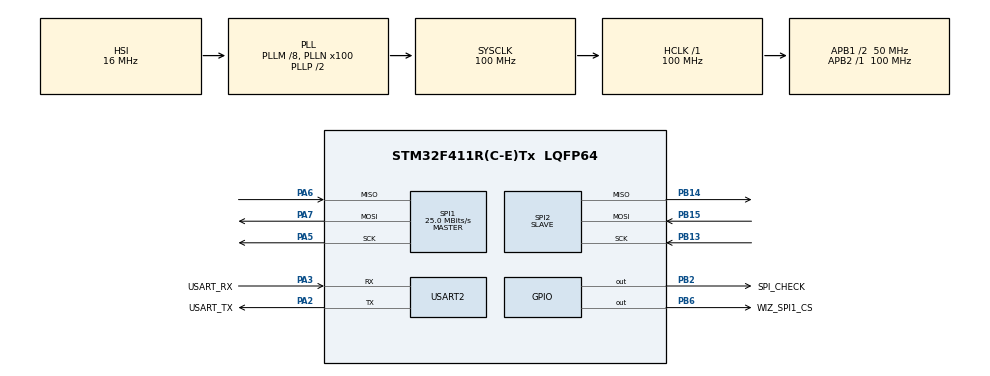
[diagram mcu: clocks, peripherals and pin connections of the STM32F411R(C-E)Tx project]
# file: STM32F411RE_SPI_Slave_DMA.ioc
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3rdParty.I-CUBE-CoreMark.0.1.0.ITERATIONS=2000
3rdParty.I-CUBE-CoreMark.0.1.0.PRINTF_UART_PORT=huart2
Dma.Request0=SPI2_RX
Dma.Request1=SPI1_RX
Dma.Request2=SPI1_TX
Dma.SPI1_RX.1.Direction=DMA_PERIPH_TO_MEMORY
Dma.SPI1_RX.1.FIFOMode=DMA_FIFOMODE_DISABLE
Dma.SPI1_RX.1.Instance=DMA2_Stream0
Dma.SPI1_RX.1.MemDataAlignment=DMA_MDATAALIGN_BYTE
Dma.SPI1_RX.1.MemInc=DMA_MINC_ENABLE
Dma.SPI1_RX.1.Mode=DMA_NORMAL
Dma.SPI1_RX.1.PeriphDataAlignment=DMA_PDATAALIGN_BYTE
Dma.SPI1_RX.1.PeriphInc=DMA_PINC_DISABLE
Dma.SPI1_RX.1.Priority=DMA_PRIORITY_LOW
Dma.SPI1_TX.2.Direction=DMA_MEMORY_TO_PERIPH
Dma.SPI1_TX.2.FIFOMode=DMA_FIFOMODE_DISABLE
Dma.SPI1_TX.2.Instance=DMA2_Stream2
Dma.SPI1_TX.2.MemDataAlignment=DMA_MDATAALIGN_BYTE
Dma.SPI1_TX.2.MemInc=DMA_MINC_ENABLE
Dma.SPI1_TX.2.Mode=DMA_NORMAL
Dma.SPI1_TX.2.PeriphDataAlignment=DMA_PDATAALIGN_BYTE
Dma.SPI1_TX.2.PeriphInc=DMA_PINC_DISABLE
Dma.SPI1_TX.2.Priority=DMA_PRIORITY_LOW
Dma.SPI2_RX.0.Direction=DMA_PERIPH_TO_MEMORY
Dma.SPI2_RX.0.FIFOMode=DMA_FIFOMODE_DISABLE
Dma.SPI2_RX.0.Instance=DMA1_Stream3
Dma.SPI2_RX.0.MemDataAlignment=DMA_MDATAALIGN_BYTE
Dma.SPI2_RX.0.MemInc=DMA_MINC_ENABLE
Dma.SPI2_RX.0.Mode=DMA_NORMAL
Dma.SPI2_RX.0.PeriphDataAlignment=DMA_PDATAALIGN_BYTE
Dma.SPI2_RX.0.PeriphInc=DMA_PINC_DISABLE
Dma.SPI2_RX.0.Priority=DMA_PRIORITY_LOW
FREERTOS.BinarySemaphores01=spi_recv_sem,Dynamic,NULL
FREERTOS.Tasks01=mainTask,24,8192,StartMainTask,Default,NULL,Dynamic,NULL,NULL
FREERTOS.configTOTAL_HEAP_SIZE=112640
MBEDTLS.MBEDTLS_DEBUG_C=1
MBEDTLS.MBEDTLS_DHM_C=1
MBEDTLS.MBEDTLS_ECJPAKE_C=1
MBEDTLS.MBEDTLS_ECP_FIXED_POINT_OPTIM_ENABLE=1
MBEDTLS.MBEDTLS_ECP_MAX_BITS_ENABLE=1
MBEDTLS.MBEDTLS_ECP_WINDOW_SIZE_ENABLE=1
MBEDTLS.MBEDTLS_ENTROPY_MAX_SOURCES=2
MBEDTLS.MBEDTLS_HAVE_TIME=0
MBEDTLS.MBEDTLS_KEY_EXCHANGE_DHE_PSK_ENABLED=1
MBEDTLS.MBEDTLS_KEY_EXCHANGE_DHE_RSA_ENABLED=1
MBEDTLS.MBEDTLS_KEY_EXCHANGE_ECDHE_PSK_ENABLED=1
MBEDTLS.MBEDTLS_KEY_EXCHANGE_ECDHE_RSA_ENABLED=1
MBEDTLS.MBEDTLS_KEY_EXCHANGE_ECDH_ECDSA_ENABLED=1
MBEDTLS.MBEDTLS_KEY_EXCHANGE_ECDH_RSA_ENABLED=1
MBEDTLS.MBEDTLS_KEY_EXCHANGE_ECJPAKE_ENABLED=1
MBEDTLS.MBEDTLS_KEY_EXCHANGE_PSK_ENABLED=1
MBEDTLS.MBEDTLS_KEY_EXCHANGE_RSA_ENABLED=1
MBEDTLS.MBEDTLS_KEY_EXCHANGE_RSA_PSK_ENABLED=1
MBEDTLS.MBEDTLS_MD5_C=1
MBEDTLS.MBEDTLS_MPI_MAX_SIZE_ENABLE=0
MBEDTLS.MBEDTLS_MPI_WINDOW_SIZE=256
MBEDTLS.MBEDTLS_MPI_WINDOW_SIZE_ENABLE=1
MBEDTLS.MBEDTLS_PKCS1_V15=1
MBEDTLS.MBEDTLS_PLATFORM_MEMORY=1
MBEDTLS.MBEDTLS_RNG_IP=SW_RNG
MBEDTLS.MBEDTLS_RSA_C=1
MBEDTLS.MBEDTLS_RSA_NO_CRT=0
MBEDTLS.MBEDTLS_SSL_CIPHERSUITES=MBEDTLS_TLS_ECDHE_ECDSA_WITH_AES_256_GCM_SHA384,MBEDTLS_TLS_ECDHE_ECDSA_WITH_AES_128_GCM_SHA256,MBEDTLS_TLS_ECDHE_RSA_WITH_AES_128_GCM_SHA256
MBEDTLS.MBEDTLS_SSL_CLI_C=1
MBEDTLS.MBEDTLS_SSL_MAX_CONTENT_LEN=4096
MBEDTLS.MBEDTLS_SSL_MAX_CONTENT_LEN_ENABLE=1
MBEDTLS.MBEDTLS_SSL_SRV_C=1
MBEDTLS.MBEDTLS_TCP_IP=1
Mcu.Family=STM32F4
Mcu.Name=STM32F411R(C-E)Tx
Mcu.Package=LQFP64
NVIC.DMA1_Stream3_IRQn=true\:5\:0\:false\:false\:true\:true\:false\:true\:true
NVIC.DMA2_Stream0_IRQn=true\:5\:0\:false\:false\:true\:true\:false\:true\:true
NVIC.DMA2_Stream2_IRQn=true\:5\:0\:false\:false\:true\:true\:false\:true\:true
NVIC.PriorityGroup=NVIC_PRIORITYGROUP_4
NVIC.SPI2_IRQn=true\:5\:0\:false\:false\:true\:true\:true\:true\:true
NVIC.TIM4_IRQn=true\:15\:0\:false\:false\:true\:false\:false\:true\:true
NVIC.TimeBase=TIM4_IRQn
NVIC.TimeBaseIP=TIM4
PA13.GPIO_Label=TMS
PA13.Mode=Serial_Wire
PA13.Signal=SYS_JTMS-SWDIO
PA14.GPIO_Label=TCK
PA14.Mode=Serial_Wire
PA14.Signal=SYS_JTCK-SWCLK
PA2.GPIO_Label=USART_TX
PA2.Mode=Asynchronous
PA2.Signal=USART2_TX
PA3.GPIO_Label=USART_RX
PA3.Mode=Asynchronous
PA3.Signal=USART2_RX
PA5.Mode=Full_Duplex_Master
PA5.Signal=SPI1_SCK
PA6.Mode=Full_Duplex_Master
PA6.Signal=SPI1_MISO
PA7.Mode=Full_Duplex_Master
PA7.Signal=SPI1_MOSI
PB13.Mode=Full_Duplex_Slave
PB13.Signal=SPI2_SCK
PB14.Mode=Full_Duplex_Slave
PB14.Signal=SPI2_MISO
PB15.Mode=Full_Duplex_Slave
PB15.Signal=SPI2_MOSI
PB2.GPIO_Label=SPI_CHECK
PB2.Signal=GPIO_Output
PB3.GPIO_Label=SWO
PB3.Signal=SYS_JTDO-SWO
PB6.GPIO_Label=WIZ_SPI1_CS
PB6.Signal=GPIO_Output
PC14-OSC32_IN.Mode=LSE-External-Oscillator
PC14-OSC32_IN.Signal=RCC_OSC32_IN
PC15-OSC32_OUT.Mode=LSE-External-Oscillator
PC15-OSC32_OUT.Signal=RCC_OSC32_OUT
PH0\ -\ OSC_IN.Mode=HSE-External-Clock-Source
PH0\ -\ OSC_IN.Signal=RCC_OSC_IN
PH1\ -\ OSC_OUT.Mode=HSE-External-Clock-Source
PH1\ -\ OSC_OUT.Signal=RCC_OSC_OUT
ProjectManager.HeapSize=0x200
ProjectManager.StackSize=0x400
ProjectManager.TargetToolchain=MDK-ARM V5.32
RCC.48MHZClocksFreq_Value=50000000
RCC.AHBFreq_Value=100000000
RCC.APB1CLKDivider=RCC_HCLK_DIV2
RCC.APB1Freq_Value=50000000
RCC.APB1TimFreq_Value=100000000
RCC.APB2Freq_Value=100000000
RCC.APB2TimFreq_Value=100000000
RCC.CortexFreq_Value=100000000
RCC.FLatency-AdvancedSettings=FLASH_LATENCY_3
RCC.HCLKFreq_Value=100000000
RCC.HSE_VALUE=8000000
RCC.HSI_VALUE=16000000
RCC.PLLM=8
RCC.PLLN=100
RCC.SYSCLKFreq_VALUE=100000000
RCC.SYSCLKSource=RCC_SYSCLKSOURCE_PLLCLK
RCC.VCOOutputFreq_Value=200000000
SPI1.BaudRatePrescaler=SPI_BAUDRATEPRESCALER_4
SPI1.CalculateBaudRate=25.0 MBits/s
SPI1.Direction=SPI_DIRECTION_2LINES
SPI1.Mode=SPI_MODE_MASTER
SPI1.VirtualType=VM_MASTER
SPI2.Direction=SPI_DIRECTION_2LINES
SPI2.Mode=SPI_MODE_SLAVE
SPI2.VirtualType=VM_SLAVE
USART2.VirtualMode=VM_ASYNC
VP_FREERTOS_VS_CMSIS_V2.Mode=CMSIS_V2
VP_MBEDTLS_VS_MBEDTLS.Mode=Enabled
VP_SYS_VS_tim4.Mode=TIM4
board=NUCLEO-F411RE

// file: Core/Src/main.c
/* USER CODE BEGIN Header */
/**
  ******************************************************************************
  * @file           : main.c
  * @brief          : Main program body
  ******************************************************************************
  * @attention
  *
  * Copyright (c) 2023 STMicroelectronics.
  * All rights reserved.
  *
  * This software is licensed under terms that can be found in the LICENSE file
  * in the root directory of this software component.
  * If no LICENSE file comes with this software, it is provided AS-IS.
  *
  ******************************************************************************
  */
/* USER CODE END Header */
#include "main.h"
#include "cmsis_os.h"
#include "mbedtls.h"

/* USER CODE BEGIN Includes */
#include "mbedtls/platform.h"
#include "w5x00_spi.h"
#include "w5x00_tcp_client_over_ssl.h"
/* USER CODE END Includes */

/* USER CODE BEGIN PD */
/* Buffer */
#define BUFFERSIZE 2048

/* Socket */
#define SOCKET_SSL 0

/* Port */
#define PORT_SSL 443
/* USER CODE END PD */

SPI_HandleTypeDef hspi1;
SPI_HandleTypeDef hspi2;
DMA_HandleTypeDef hdma_spi1_rx;
DMA_HandleTypeDef hdma_spi1_tx;
DMA_HandleTypeDef hdma_spi2_rx;

UART_HandleTypeDef huart2;

/* Definitions for mainTask */
osThreadId_t mainTaskHandle;
const osThreadAttr_t mainTask_attributes = {
  .name = "mainTask",
  .stack_size = 8192 * 4,
  .priority = (osPriority_t) osPriorityNormal,
};
/* Definitions for spi_recv_sem */
osSemaphoreId_t spi_recv_semHandle;
const osSemaphoreAttr_t spi_recv_sem_attributes = {
  .name = "spi_recv_sem"
};
/* USER CODE BEGIN PV */
extern mbedtls_ssl_context ssl;
uint8_t ssl_target_ip[4] = {192, 168, 0, 2};
uint8_t aRxBuffer[BUFFERSIZE];
/* USER CODE END PV */

void SystemClock_Config(void);
static void MX_GPIO_Init(void);
static void MX_DMA_Init(void);
static void MX_USART2_UART_Init(void);
static void MX_SPI1_Init(void);
static void MX_SPI2_Init(void);
void StartMainTask(void *argument);

/* USER CODE BEGIN 0 */
struct __FILE {
    int dummy;
};

/* You need this if you want use printf */
/* Struct FILE is implemented in stdio.h */
FILE __stdout;

int fputc(int ch, FILE *f)
{
  /* Place your implementation of fputc here */
  /* e.g. write a character to the EVAL_COM1 and Loop until the end of transmission */
  HAL_UART_Transmit(&huart2, (uint8_t *)&ch, 1, 0xFFFF);

  return ch;
}
void HAL_SPI_RxCpltCallback(SPI_HandleTypeDef *hspi)
{
	if(hspi->Instance == SPI2) {
		//printf("%s\r\n", __func__);
		HAL_SPI_Receive_DMA(&hspi2, (uint8_t *)aRxBuffer, BUFFERSIZE);
		osSemaphoreRelease(spi_recv_semHandle);
		//while(HAL_SPI_GetState(&hspi2) == HAL_SPI_STATE_BUSY_RX);
	}
}

void *pvPortCalloc( size_t sNb, size_t sSize )
{
    void *vPtr = NULL;
    if (sSize > 0) {
        vPtr = pvPortMalloc(sSize * sNb); // Call FreeRTOS or other standard API
        if(vPtr)
				{
						memset(vPtr, 0, (sSize * sNb)); // Must required
				}
				else
				{
						printf("Calloc failed\n");
				}
    }
    return vPtr;
}

void pvPortFree( void *vPtr )
{
    if (vPtr) {
        vPortFree(vPtr); // Call FreeRTOS or other standard API
    }
}
/* USER CODE END 0 */

int main(void)
{

  /* MCU Configuration--------------------------------------------------------*/

  /* Reset of all peripherals, Initializes the Flash interface and the Systick. */
  HAL_Init();

  /* Configure the system clock */
  SystemClock_Config();

  /* Initialize all configured peripherals */
  MX_GPIO_Init();
  MX_DMA_Init();
  MX_USART2_UART_Init();
  MX_SPI1_Init();
  //MX_MBEDTLS_Init();
  MX_SPI2_Init();
  /* Call PreOsInit function */
  //MX_MBEDTLS_Init();

  /* Init scheduler */
  osKernelInitialize();

  /* Create the semaphores(s) */
  /* creation of spi_recv_sem */
  spi_recv_semHandle = osSemaphoreNew(1, 0, &spi_recv_sem_attributes);

  /* Create the thread(s) */
  /* creation of mainTask */
  mainTaskHandle = osThreadNew(StartMainTask, NULL, &mainTask_attributes);

  /* Start scheduler */
  osKernelStart();

  /* We should never get here as control is now taken by the scheduler */
  /* Infinite loop */
  while (1)
  {

  }
}

void SystemClock_Config(void)
{
  RCC_OscInitTypeDef RCC_OscInitStruct = {0};
  RCC_ClkInitTypeDef RCC_ClkInitStruct = {0};

  /** Configure the main internal regulator output voltage
  */
  __HAL_RCC_PWR_CLK_ENABLE();
  __HAL_PWR_VOLTAGESCALING_CONFIG(PWR_REGULATOR_VOLTAGE_SCALE1);

  /** Initializes the RCC Oscillators according to the specified parameters
  * in the RCC_OscInitTypeDef structure.
  */
  RCC_OscInitStruct.OscillatorType = RCC_OSCILLATORTYPE_HSI;
  RCC_OscInitStruct.HSIState = RCC_HSI_ON;
  RCC_OscInitStruct.HSICalibrationValue = RCC_HSICALIBRATION_DEFAULT;
  RCC_OscInitStruct.PLL.PLLState = RCC_PLL_ON;
  RCC_OscInitStruct.PLL.PLLSource = RCC_PLLSOURCE_HSI;
  RCC_OscInitStruct.PLL.PLLM = 8;
  RCC_OscInitStruct.PLL.PLLN = 100;
  RCC_OscInitStruct.PLL.PLLP = RCC_PLLP_DIV2;
  RCC_OscInitStruct.PLL.PLLQ = 4;
  if (HAL_RCC_OscConfig(&RCC_OscInitStruct) != HAL_OK)
  {
    Error_Handler();
  }

  /** Initializes the CPU, AHB and APB buses clocks
  */
  RCC_ClkInitStruct.ClockType = RCC_CLOCKTYPE_HCLK|RCC_CLOCKTYPE_SYSCLK
                              |RCC_CLOCKTYPE_PCLK1|RCC_CLOCKTYPE_PCLK2;
  RCC_ClkInitStruct.SYSCLKSource = RCC_SYSCLKSOURCE_PLLCLK;
  RCC_ClkInitStruct.AHBCLKDivider = RCC_SYSCLK_DIV1;
  RCC_ClkInitStruct.APB1CLKDivider = RCC_HCLK_DIV2;
  RCC_ClkInitStruct.APB2CLKDivider = RCC_HCLK_DIV1;

  if (HAL_RCC_ClockConfig(&RCC_ClkInitStruct, FLASH_LATENCY_3) != HAL_OK)
  {
    Error_Handler();
  }
}

static void MX_SPI1_Init(void)
{

  /* SPI1 parameter configuration*/
  hspi1.Instance = SPI1;
  hspi1.Init.Mode = SPI_MODE_MASTER;
  hspi1.Init.Direction = SPI_DIRECTION_2LINES;
  hspi1.Init.DataSize = SPI_DATASIZE_8BIT;
  hspi1.Init.CLKPolarity = SPI_POLARITY_LOW;
  hspi1.Init.CLKPhase = SPI_PHASE_1EDGE;
  hspi1.Init.NSS = SPI_NSS_SOFT;
  hspi1.Init.BaudRatePrescaler = SPI_BAUDRATEPRESCALER_4;
  hspi1.Init.FirstBit = SPI_FIRSTBIT_MSB;
  hspi1.Init.TIMode = SPI_TIMODE_DISABLE;
  hspi1.Init.CRCCalculation = SPI_CRCCALCULATION_DISABLE;
  hspi1.Init.CRCPolynomial = 10;
  if (HAL_SPI_Init(&hspi1) != HAL_OK)
  {
    Error_Handler();
  }

}

static void MX_SPI2_Init(void)
{

  /* SPI2 parameter configuration*/
  hspi2.Instance = SPI2;
  hspi2.Init.Mode = SPI_MODE_SLAVE;
  hspi2.Init.Direction = SPI_DIRECTION_2LINES;
  hspi2.Init.DataSize = SPI_DATASIZE_8BIT;
  hspi2.Init.CLKPolarity = SPI_POLARITY_LOW;
  hspi2.Init.CLKPhase = SPI_PHASE_1EDGE;
  hspi2.Init.NSS = SPI_NSS_SOFT;
  hspi2.Init.FirstBit = SPI_FIRSTBIT_MSB;
  hspi2.Init.TIMode = SPI_TIMODE_DISABLE;
  hspi2.Init.CRCCalculation = SPI_CRCCALCULATION_DISABLE;
  hspi2.Init.CRCPolynomial = 10;
  if (HAL_SPI_Init(&hspi2) != HAL_OK)
  {
    Error_Handler();
  }

}

static void MX_USART2_UART_Init(void)
{

  huart2.Instance = USART2;
  huart2.Init.BaudRate = 115200;
  huart2.Init.WordLength = UART_WORDLENGTH_8B;
  huart2.Init.StopBits = UART_STOPBITS_1;
  huart2.Init.Parity = UART_PARITY_NONE;
  huart2.Init.Mode = UART_MODE_TX_RX;
  huart2.Init.HwFlowCtl = UART_HWCONTROL_NONE;
  huart2.Init.OverSampling = UART_OVERSAMPLING_16;
  if (HAL_UART_Init(&huart2) != HAL_OK)
  {
    Error_Handler();
  }

}

static void MX_DMA_Init(void)
{

  /* DMA controller clock enable */
  __HAL_RCC_DMA1_CLK_ENABLE();
  __HAL_RCC_DMA2_CLK_ENABLE();

  /* DMA interrupt init */
  /* DMA1_Stream3_IRQn interrupt configuration */
  HAL_NVIC_SetPriority(DMA1_Stream3_IRQn, 5, 0);
  HAL_NVIC_EnableIRQ(DMA1_Stream3_IRQn);
  /* DMA2_Stream0_IRQn interrupt configuration */
  HAL_NVIC_SetPriority(DMA2_Stream0_IRQn, 5, 0);
  HAL_NVIC_EnableIRQ(DMA2_Stream0_IRQn);
  /* DMA2_Stream2_IRQn interrupt configuration */
  HAL_NVIC_SetPriority(DMA2_Stream2_IRQn, 5, 0);
  HAL_NVIC_EnableIRQ(DMA2_Stream2_IRQn);

}

static void MX_GPIO_Init(void)
{
  GPIO_InitTypeDef GPIO_InitStruct = {0};

  /* GPIO Ports Clock Enable */
  __HAL_RCC_GPIOC_CLK_ENABLE();
  __HAL_RCC_GPIOH_CLK_ENABLE();
  __HAL_RCC_GPIOA_CLK_ENABLE();
  __HAL_RCC_GPIOB_CLK_ENABLE();

  /*Configure GPIO pin Output Level */
  HAL_GPIO_WritePin(GPIOB, SPI_CHECK_Pin|WIZ_SPI1_CS_Pin, GPIO_PIN_RESET);

  /*Configure GPIO pins : SPI_CHECK_Pin WIZ_SPI1_CS_Pin */
  GPIO_InitStruct.Pin = SPI_CHECK_Pin|WIZ_SPI1_CS_Pin;
  GPIO_InitStruct.Mode = GPIO_MODE_OUTPUT_PP;
  GPIO_InitStruct.Pull = GPIO_NOPULL;
  GPIO_InitStruct.Speed = GPIO_SPEED_FREQ_LOW;
  HAL_GPIO_Init(GPIOB, &GPIO_InitStruct);

}

void StartMainTask(void *argument)
{
  /* USER CODE BEGIN 5 */
	int ret = 0;
	uint8_t client_socket = (uint8_t)ssl.p_bio;
	const int *list = NULL;
	uint32_t i = 0;
	uint32_t cnt = 0;
	HAL_StatusTypeDef error_code;

  /* Infinite loop */
	printf("Start WIZ Chip Initialized...\n");

	if(!WIZ_ChipInit())
	{
		printf("WIZ_ChipInit failed.\n");
	}

	printf("Start Network Initialized...\n");
	if(!WIZ_NetworkInit())
	{
		printf("WIZ_NetworkInit failed.\n");
	}

	printf("Initialized finished...\n");

	ret = mbedtls_platform_set_calloc_free(pvPortCalloc, pvPortFree);
	printf("mbedtls platform set calloc/free.\n");

	ret = wizchip_ssl_init(SOCKET_SSL);
	if (ret < 0)
	{
			printf(" SSL initialize failed %d\n", ret);
			while(1){};
	}

	/* Get ciphersuite information */
	printf(" Supported ciphersuite lists\n");

	list = mbedtls_ssl_list_ciphersuites();

	while (*list)
	{
			printf(" %-42s\n", mbedtls_ssl_get_ciphersuite_name(*list));
			list++;

			if (!*list)
			{
					break;
			}

			printf(" %s\n", mbedtls_ssl_get_ciphersuite_name(*list));
			list++;
	}

  /* Infinite loop */
  for(;;)
  {
	ret = socket(client_socket, Sn_MR_TCP, PORT_SSL, SF_TCP_NODELAY);

		if (ret < 0) {
			printf("socket failed{%d}.\n", ret);
			close(client_socket);
			osDelay(500);
			continue;
		}
		else {
			printf("socket success...\n");
		}

		while(getSn_SR(client_socket) != SOCK_INIT);

		ret = connect(client_socket, ssl_target_ip, PORT_SSL);
		if (ret < 0) {
			printf("connect failed{%d}.Sn_SR()={%d}\n", ret, getSn_SR(client_socket));
			close(client_socket);
			osDelay(500);
			continue;
		}
		else {
			printf("connect success...\n");
		}

		while((ret = mbedtls_ssl_handshake(&ssl)) != 0)
    {
			if((ret != MBEDTLS_ERR_SSL_WANT_READ) && (ret != MBEDTLS_ERR_SSL_WANT_WRITE))
			{
				printf(" failed\n  ! mbedtls_ssl_handshake returned -0x%x\n", -ret);
				while (1){};
			}
    }
		printf(" ok\n    [ Ciphersuite is %s ]\n", mbedtls_ssl_get_ciphersuite(&ssl));

		//HAL_GPIO_WritePin(GPIOB, SPI_CHECK_Pin, GPIO_PIN_SET);
		HAL_SPI_Receive_DMA(&hspi2, (uint8_t *)aRxBuffer, BUFFERSIZE);

		while(1)
		{
				HAL_GPIO_WritePin(GPIOB, SPI_CHECK_Pin, GPIO_PIN_SET);

				osSemaphoreAcquire(spi_recv_semHandle, osWaitForever);

				HAL_GPIO_WritePin(GPIOB, SPI_CHECK_Pin, GPIO_PIN_RESET);

				mbedtls_ssl_write(&ssl, aRxBuffer, BUFFERSIZE);
		}
  }
  /* USER CODE END 5 */
}

void HAL_TIM_PeriodElapsedCallback(TIM_HandleTypeDef *htim)
{
  if (htim->Instance == TIM4) {
    HAL_IncTick();
		repeating_timer_callback();
  }
}

void Error_Handler(void)
{
  __disable_irq();
  while (1)
  {
  }
}
